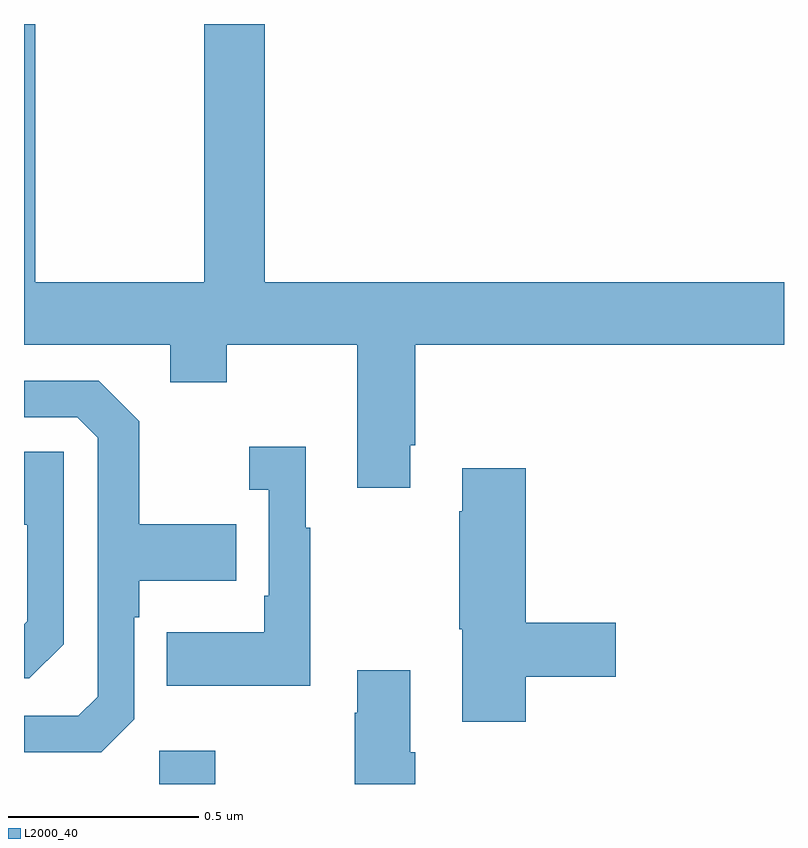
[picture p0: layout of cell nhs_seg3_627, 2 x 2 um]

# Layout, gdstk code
import gdstk
lib = gdstk.Library(unit=1e-6, precision=1e-09)
def R(c, l, rs):  # rectangles x0, y0, x1, y1
    for r in rs: c.add(gdstk.rectangle(r[:2], r[2:], *l))
def P(c, l, *ps):  # polygons
    for p in ps: c.add(gdstk.Polygon(p, *l))
L2000_40 = (2000, 40)

nhs_seg3_627 = lib.new_cell('nhs_seg3_627')
R(nhs_seg3_627, L2000_40, [(118.356,726.4,118.503,726.487)])
P(nhs_seg3_627, L2000_40, [(119.017,727.291),(119.03,727.291),(119.03,727.556),(120,727.556),(120,727.72),(118.634,727.72),(118.634,728.4),(118.474,728.4),(118.474,727.72),(118.029,727.72),(118.029,728.4),(118,728.4),(118,727.556),(118.385,727.556),(118.385,727.457),(118.533,727.457),(118.533,727.556),(118.877,727.556),(118.877,727.179),(119.017,727.179)],
  [(118.29,726.57),(118.29,726.839),(118.303,726.839),(118.303,726.935),(118.559,726.935),(118.559,727.083),(118.303,727.083),(118.303,727.355),(118.197,727.461),(118,727.461),(118,727.365),(118.14,727.365),(118.194,727.311),(118.194,726.63),(118.143,726.579),(118,726.579),(118,726.483),(118.203,726.483)],
  [(118.753,727.075),(118.741,727.075),(118.741,727.288),(118.593,727.288),(118.593,727.175),(118.644,727.175),(118.644,726.895),(118.632,726.895),(118.632,726.799),(118.375,726.799),(118.375,726.659),(118.753,726.659)],
  [(118.104,726.768),(118.104,727.275),(118,727.275),(118,727.082),(118.008,727.082),(118.008,726.828),(118,726.82),(118,726.678),(118.014,726.678)],
  [(119.321,726.682),(119.557,726.682),(119.557,726.824),(119.321,726.824),(119.321,727.231),(119.153,727.231),(119.153,727.118),(119.146,727.118),(119.146,726.807),(119.153,726.807),(119.153,726.564),(119.321,726.564)],
  [(119.03,726.484),(119.017,726.484),(119.017,726.7),(118.877,726.7),(118.877,726.587),(118.87,726.587),(118.87,726.4),(119.03,726.4)])

lib.write_gds('nhs_seg3_627.gds')
